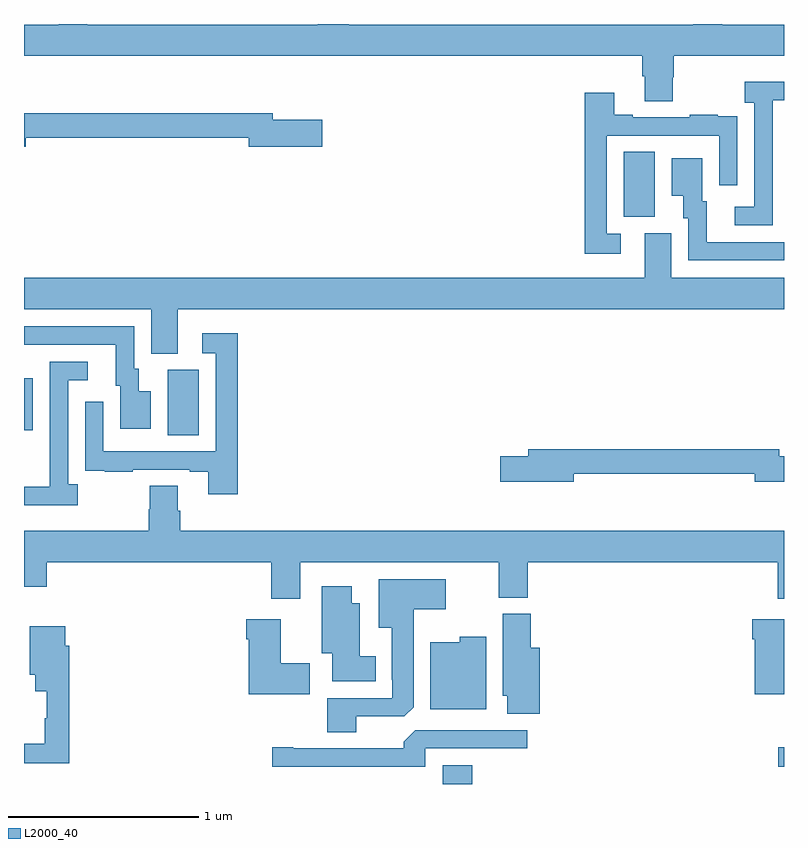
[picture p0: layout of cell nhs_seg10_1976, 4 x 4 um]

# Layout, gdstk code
import gdstk
lib = gdstk.Library(unit=1e-6, precision=1e-09)
def R(c, l, rs):  # rectangles x0, y0, x1, y1
    for r in rs: c.add(gdstk.rectangle(r[:2], r[2:], *l))
def P(c, l, *ps):  # polygons
    for p in ps: c.add(gdstk.Polygon(p, *l))
L2000_40 = (2000, 40)

nhs_seg10_1976 = lib.new_cell('nhs_seg10_1976')
R(nhs_seg10_1976, L2000_40, [(217.205,1280.5,217.358,1280.599), (218.97,1280.592,219,1280.693), (215.756,1282.336,215.92,1282.68), (215,1282.361,215.047,1282.636), (218.156,1283.485,218.32,1283.828)])
P(nhs_seg10_1976, L2000_40, [(218.415,1284.219),(218.42,1284.219),(218.42,1284.332),(219,1284.332),(219,1284.496),(218.674,1284.496),(218.674,1284.5),(218.522,1284.5),(218.522,1284.496),(216.71,1284.496),(216.71,1284.5),(216.545,1284.5),(216.545,1284.496),(215.334,1284.496),(215.334,1284.5),(215.183,1284.5),(215.183,1284.496),(215,1284.496),(215,1284.332),(218.255,1284.332),(218.255,1284.226),(218.267,1284.226),(218.267,1284.094),(218.415,1284.094)],
  [(218.94,1283.899),(218.941,1283.899),(218.941,1284.099),(219,1284.099),(219,1284.196),(218.793,1284.196),(218.793,1284.086),(218.844,1284.086),(218.844,1283.538),(218.742,1283.538),(218.742,1283.442),(218.94,1283.442)],
  [(218.14,1283.397),(218.067,1283.397),(218.067,1283.913),(218.658,1283.913),(218.658,1283.652),(218.754,1283.652),(218.754,1283.906),(218.753,1283.906),(218.753,1284.015),(218.651,1284.015),(218.651,1284.022),(218.503,1284.022),(218.503,1284.009),(218.203,1284.009),(218.203,1284.022),(218.107,1284.022),(218.107,1284.139),(217.951,1284.139),(217.951,1283.292),(218.14,1283.292)],
  [(215.008,1283.902),(216.182,1283.902),(216.182,1283.855),(216.571,1283.855),(216.571,1283.997),(216.31,1283.997),(216.31,1284.031),(215,1284.031),(215,1283.855),(215.008,1283.855)],
  [(219,1283.352),(218.593,1283.352),(218.593,1283.568),(218.569,1283.568),(218.569,1283.794),(218.408,1283.794),(218.408,1283.597),(218.471,1283.597),(218.471,1283.478),(218.496,1283.478),(218.496,1283.256),(219,1283.256)],
  [(215.809,1283),(219,1283),(219,1283.164),(218.407,1283.164),(218.407,1283.4),(218.267,1283.4),(218.267,1283.164),(215,1283.164),(215,1283),(215.669,1283),(215.669,1282.765),(215.809,1282.765)],
  [(215.668,1282.567),(215.605,1282.567),(215.605,1282.686),(215.58,1282.686),(215.58,1282.908),(215,1282.908),(215,1282.812),(215.483,1282.812),(215.483,1282.596),(215.507,1282.596),(215.507,1282.371),(215.668,1282.371)],
  [(216.125,1282.873),(215.937,1282.873),(215.937,1282.767),(216.009,1282.767),(216.009,1282.251),(215.418,1282.251),(215.418,1282.513),(215.322,1282.513),(215.322,1282.258),(215.323,1282.258),(215.323,1282.149),(215.425,1282.149),(215.425,1282.143),(215.573,1282.143),(215.573,1282.155),(215.873,1282.155),(215.873,1282.143),(215.969,1282.143),(215.969,1282.026),(216.125,1282.026)],
  [(215.284,1282.078),(215.232,1282.078),(215.232,1282.626),(215.335,1282.626),(215.335,1282.722),(215.136,1282.722),(215.136,1282.265),(215.135,1282.265),(215.135,1282.065),(215,1282.065),(215,1281.968),(215.284,1281.968)],
  [(217.894,1282.134),(218.846,1282.134),(218.846,1282.091),(219,1282.091),(219,1282.226),(218.974,1282.226),(218.974,1282.262),(217.655,1282.262),(217.655,1282.226),(217.506,1282.226),(217.506,1282.091),(217.894,1282.091)],
  [(216.454,1281.668),(217.499,1281.668),(217.499,1281.481),(217.652,1281.481),(217.652,1281.668),(218.966,1281.668),(218.966,1281.474),(219,1281.474),(219,1281.832),(215.822,1281.832),(215.822,1281.938),(215.809,1281.938),(215.809,1282.07),(215.662,1282.07),(215.662,1281.945),(215.657,1281.945),(215.657,1281.832),(215,1281.832),(215,1281.537),(215.12,1281.537),(215.12,1281.668),(216.302,1281.668),(216.302,1281.474),(216.454,1281.474)],
  [(216.748,1280.856),(217.002,1280.856),(217.051,1280.905),(217.051,1281.419),(217.219,1281.419),(217.219,1281.577),(216.866,1281.577),(216.866,1281.323),(216.935,1281.323),(216.935,1281.049),(216.939,1281.049),(216.939,1280.952),(216.596,1280.952),(216.596,1280.773),(216.748,1280.773)],
  [(216.85,1281.172),(216.766,1281.172),(216.766,1281.451),(216.724,1281.451),(216.724,1281.541),(216.566,1281.541),(216.566,1281.188),(216.623,1281.188),(216.623,1281.041),(216.85,1281.041)],
  [(217.715,1281.217),(217.667,1281.217),(217.667,1281.396),(217.52,1281.396),(217.52,1280.964),(217.544,1280.964),(217.544,1280.869),(217.715,1280.869)],
  [(219,1281.367),(218.834,1281.367),(218.834,1281.263),(218.846,1281.263),(218.846,1280.972),(219,1280.972)],
  [(216.505,1281.135),(216.352,1281.135),(216.352,1281.367),(216.17,1281.367),(216.17,1281.263),(216.182,1281.263),(216.182,1280.972),(216.505,1280.972)],
  [(215.237,1281.227),(215.218,1281.227),(215.218,1281.331),(215.03,1281.331),(215.03,1281.074),(215.06,1281.074),(215.06,1280.987),(215.12,1280.987),(215.12,1280.847),(215.109,1280.847),(215.109,1280.711),(215,1280.711),(215,1280.61),(215.237,1280.61)],
  [(217.432,1281.274),(217.293,1281.274),(217.293,1281.247),(217.139,1281.247),(217.139,1280.894),(217.432,1280.894)],
  [(217.113,1280.688),(217.648,1280.688),(217.648,1280.784),(217.059,1280.784),(216.998,1280.722),(216.998,1280.688),(216.418,1280.688),(216.418,1280.693),(216.306,1280.693),(216.306,1280.592),(217.113,1280.592)])

lib.write_gds('nhs_seg10_1976.gds')
